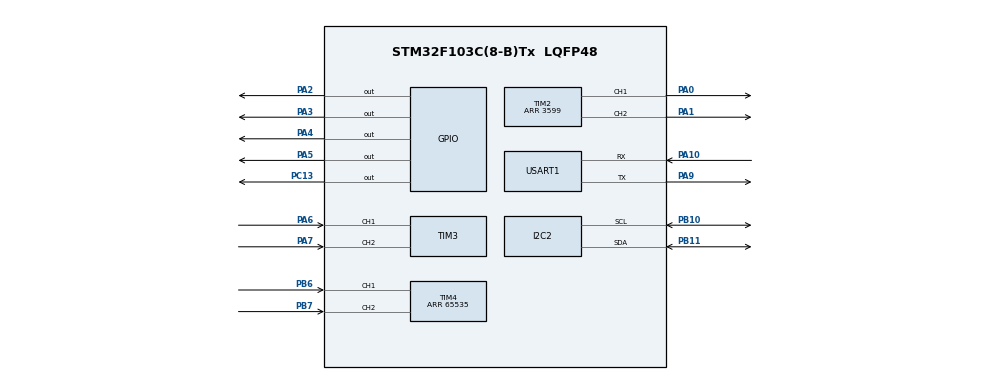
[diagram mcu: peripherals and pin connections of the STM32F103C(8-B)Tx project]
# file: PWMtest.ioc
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FREERTOS.Tasks01=Task_Comm,24,256,Comm_Task_Entry,Default,NULL,Dynamic,NULL,NULL;Task_Chassis,40,256,Chassis_Task_Entry,Default,NULL,Dynamic,NULL,NULL;Task_System,8,256,System_Task_Entry,Default,NULL,Dynamic,NULL,NULL
FREERTOS.configTOTAL_HEAP_SIZE=10240
Mcu.Family=STM32F1
Mcu.Name=STM32F103C(8-B)Tx
Mcu.Package=LQFP48
NVIC.PriorityGroup=NVIC_PRIORITYGROUP_4
NVIC.TIM1_UP_IRQn=true\:15\:0\:false\:false\:true\:false\:false\:true\:true
NVIC.TimeBase=TIM1_UP_IRQn
NVIC.TimeBaseIP=TIM1
NVIC.USART1_IRQn=true\:5\:0\:false\:false\:true\:true\:true\:true\:true
PA0-WKUP.Signal=S_TIM2_CH1_ETR
PA1.Signal=S_TIM2_CH2
PA10.Mode=Asynchronous
PA10.Signal=USART1_RX
PA13.Mode=Serial_Wire
PA13.Signal=SYS_JTMS-SWDIO
PA14.Mode=Serial_Wire
PA14.Signal=SYS_JTCK-SWCLK
PA2.Signal=GPIO_Output
PA3.Signal=GPIO_Output
PA4.Signal=GPIO_Output
PA5.Signal=GPIO_Output
PA6.Signal=S_TIM3_CH1
PA7.Signal=S_TIM3_CH2
PA9.Mode=Asynchronous
PA9.Signal=USART1_TX
PB10.Mode=I2C
PB10.Signal=I2C2_SCL
PB11.Mode=I2C
PB11.Signal=I2C2_SDA
PB6.Signal=S_TIM4_CH1
PB7.Signal=S_TIM4_CH2
PC13-TAMPER-RTC.Signal=GPIO_Output
ProjectManager.HeapSize=0x200
ProjectManager.StackSize=0x400
ProjectManager.TargetToolchain=MDK-ARM V5.32
RCC.APB1Freq_Value=8000000
RCC.APB2Freq_Value=8000000
SH.S_TIM2_CH1_ETR.0=TIM2_CH1,PWM Generation1 CH1
SH.S_TIM2_CH2.0=TIM2_CH2,PWM Generation2 CH2
SH.S_TIM3_CH1.0=TIM3_CH1,Encoder_Interface
SH.S_TIM3_CH2.0=TIM3_CH2,Encoder_Interface
SH.S_TIM4_CH1.0=TIM4_CH1,Encoder_Interface
SH.S_TIM4_CH2.0=TIM4_CH2,Encoder_Interface
TIM2.Channel-PWM\ Generation1\ CH1=TIM_CHANNEL_1
TIM2.Channel-PWM\ Generation2\ CH2=TIM_CHANNEL_2
TIM2.Period=3599
TIM4.Period=65535
USART1.VirtualMode=VM_ASYNC
VP_FREERTOS_VS_CMSIS_V2.Mode=CMSIS_V2
VP_SYS_VS_tim1.Mode=TIM1
board=custom

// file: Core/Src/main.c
/* USER CODE BEGIN Header */
/**
  ******************************************************************************
  * @file           : main.c
  * @brief          : Main program body
  ******************************************************************************
  * @attention
  *
  * Copyright (c) 2026 STMicroelectronics.
  * All rights reserved.
  *
  * This software is licensed under terms that can be found in the LICENSE file
  * in the root directory of this software component.
  * If no LICENSE file comes with this software, it is provided AS-IS.
  *
  ******************************************************************************
  */
/* USER CODE END Header */
#include "main.h"
#include "cmsis_os.h"

/* USER CODE BEGIN Includes */
#include <string.h>  // 必须加这个！解决 strstr 警告
#include <stdio.h>
#include <stdlib.h>
#include <protocol.h>
#include <chassis.h>
#include "pid.h"
#include "encoder.h"
#include "motor.h"
#include <math.h>
#include "mpu6050.h"
#include "kinematics.h"
#include "odometry.h"
/* USER CODE END Includes */

/* USER CODE BEGIN PM */
uint8_t rx_data;
/* USER CODE END PM */

I2C_HandleTypeDef hi2c2;

TIM_HandleTypeDef htim2;
TIM_HandleTypeDef htim3;
TIM_HandleTypeDef htim4;

UART_HandleTypeDef huart1;

/* Definitions for Task_Comm */
osThreadId_t Task_CommHandle;
const osThreadAttr_t Task_Comm_attributes = {
  .name = "Task_Comm",
  .stack_size = 256 * 4,
  .priority = (osPriority_t) osPriorityNormal,
};
/* Definitions for Task_Chassis */
osThreadId_t Task_ChassisHandle;
const osThreadAttr_t Task_Chassis_attributes = {
  .name = "Task_Chassis",
  .stack_size = 256 * 4,
  .priority = (osPriority_t) osPriorityHigh,
};
/* Definitions for Task_System */
osThreadId_t Task_SystemHandle;
const osThreadAttr_t Task_System_attributes = {
  .name = "Task_System",
  .stack_size = 256 * 4,
  .priority = (osPriority_t) osPriorityLow,
};
/* USER CODE BEGIN PV */
volatile float User_Target_Linear_X = 0.0f;  // 目标线速度
volatile float User_Target_Angular_Z = 0.0f; // 目标角速度

PID_TypeDef PID_MotorL;
PID_TypeDef PID_MotorR;
/* USER CODE END PV */

void SystemClock_Config(void);
static void MX_GPIO_Init(void);
static void MX_TIM2_Init(void);
static void MX_USART1_UART_Init(void);
static void MX_TIM3_Init(void);
static void MX_TIM4_Init(void);
static void MX_I2C2_Init(void);
void Comm_Task_Entry(void *argument);
void Chassis_Task_Entry(void *argument);
void System_Task_Entry(void *argument);

/* USER CODE BEGIN 0 */
#define LED_PORT GPIOC
#define LED_PIN  GPIO_PIN_13

void On_Receive_Velocity(float x, float z)
{
    HAL_GPIO_TogglePin(LED_PORT, LED_PIN);

    Protocol_Send_Odom(x, z);
	//Chassis_Set_Velocity(x, z);
	User_Target_Linear_X = x;
    User_Target_Angular_Z = z;

}
/* USER CODE END 0 */

int main(void)
{

  /* MCU Configuration--------------------------------------------------------*/

  /* Reset of all peripherals, Initializes the Flash interface and the Systick. */
  HAL_Init();

  /* Configure the system clock */
  SystemClock_Config();

  /* Initialize all configured peripherals */
  MX_GPIO_Init();
  MX_TIM2_Init();
  MX_USART1_UART_Init();
  MX_TIM3_Init();
  MX_TIM4_Init();
  MX_I2C2_Init();
  /* USER CODE BEGIN 2 */

  // 启动 TIM2 的 Channel 1
  HAL_TIM_PWM_Start(&htim2, TIM_CHANNEL_1);
  // 开启中断接收，每收到 1 个字节，就进一次中断回调函数
  HAL_UART_Receive_IT(&huart1, &rx_data, 1);
  HAL_TIM_Base_Start_IT(&htim2);
  HAL_TIM_PWM_Start(&htim2, TIM_CHANNEL_1);
  HAL_TIM_PWM_Start(&htim2, TIM_CHANNEL_2);
  // 开启编码器计数
  Encoder_Init(); // 内部开启了 TIM3, TIM4
  // 开启 PWM (TIM2/TIM1)
  Motor_Init(); // 内部调用了 HAL_TIM_PWM_Start(&htim1...)
  // 开启串口接收
  HAL_UART_Receive_IT(&huart1, &rx_data, 1);
  MPU_Init();
  MPU_Calibrate();
  /* USER CODE END 2 */

  /* Init scheduler */
  osKernelInitialize();

  /* Create the thread(s) */
  /* creation of Task_Comm */
  Task_CommHandle = osThreadNew(Comm_Task_Entry, NULL, &Task_Comm_attributes);

  /* creation of Task_Chassis */
  Task_ChassisHandle = osThreadNew(Chassis_Task_Entry, NULL, &Task_Chassis_attributes);

  /* creation of Task_System */
  Task_SystemHandle = osThreadNew(System_Task_Entry, NULL, &Task_System_attributes);

  /* Start scheduler */
  osKernelStart();

  /* We should never get here as control is now taken by the scheduler */

  /* Infinite loop */
  while (1)
  {

  }
}

void SystemClock_Config(void)
{
  RCC_OscInitTypeDef RCC_OscInitStruct = {0};
  RCC_ClkInitTypeDef RCC_ClkInitStruct = {0};

  /** Initializes the RCC Oscillators according to the specified parameters
  * in the RCC_OscInitTypeDef structure.
  */
  RCC_OscInitStruct.OscillatorType = RCC_OSCILLATORTYPE_HSI;
  RCC_OscInitStruct.HSIState = RCC_HSI_ON;
  RCC_OscInitStruct.HSICalibrationValue = RCC_HSICALIBRATION_DEFAULT;
  RCC_OscInitStruct.PLL.PLLState = RCC_PLL_NONE;
  if (HAL_RCC_OscConfig(&RCC_OscInitStruct) != HAL_OK)
  {
    Error_Handler();
  }

  /** Initializes the CPU, AHB and APB buses clocks
  */
  RCC_ClkInitStruct.ClockType = RCC_CLOCKTYPE_HCLK|RCC_CLOCKTYPE_SYSCLK
                              |RCC_CLOCKTYPE_PCLK1|RCC_CLOCKTYPE_PCLK2;
  RCC_ClkInitStruct.SYSCLKSource = RCC_SYSCLKSOURCE_HSI;
  RCC_ClkInitStruct.AHBCLKDivider = RCC_SYSCLK_DIV1;
  RCC_ClkInitStruct.APB1CLKDivider = RCC_HCLK_DIV1;
  RCC_ClkInitStruct.APB2CLKDivider = RCC_HCLK_DIV1;

  if (HAL_RCC_ClockConfig(&RCC_ClkInitStruct, FLASH_LATENCY_0) != HAL_OK)
  {
    Error_Handler();
  }
}

static void MX_I2C2_Init(void)
{

  hi2c2.Instance = I2C2;
  hi2c2.Init.ClockSpeed = 100000;
  hi2c2.Init.DutyCycle = I2C_DUTYCYCLE_2;
  hi2c2.Init.OwnAddress1 = 0;
  hi2c2.Init.AddressingMode = I2C_ADDRESSINGMODE_7BIT;
  hi2c2.Init.DualAddressMode = I2C_DUALADDRESS_DISABLE;
  hi2c2.Init.OwnAddress2 = 0;
  hi2c2.Init.GeneralCallMode = I2C_GENERALCALL_DISABLE;
  hi2c2.Init.NoStretchMode = I2C_NOSTRETCH_DISABLE;
  if (HAL_I2C_Init(&hi2c2) != HAL_OK)
  {
    Error_Handler();
  }

}

static void MX_TIM2_Init(void)
{

  TIM_MasterConfigTypeDef sMasterConfig = {0};
  TIM_OC_InitTypeDef sConfigOC = {0};

  htim2.Instance = TIM2;
  htim2.Init.Prescaler = 0;
  htim2.Init.CounterMode = TIM_COUNTERMODE_UP;
  htim2.Init.Period = 3599;
  htim2.Init.ClockDivision = TIM_CLOCKDIVISION_DIV1;
  htim2.Init.AutoReloadPreload = TIM_AUTORELOAD_PRELOAD_DISABLE;
  if (HAL_TIM_PWM_Init(&htim2) != HAL_OK)
  {
    Error_Handler();
  }
  sMasterConfig.MasterOutputTrigger = TIM_TRGO_RESET;
  sMasterConfig.MasterSlaveMode = TIM_MASTERSLAVEMODE_DISABLE;
  if (HAL_TIMEx_MasterConfigSynchronization(&htim2, &sMasterConfig) != HAL_OK)
  {
    Error_Handler();
  }
  sConfigOC.OCMode = TIM_OCMODE_PWM1;
  sConfigOC.Pulse = 0;
  sConfigOC.OCPolarity = TIM_OCPOLARITY_HIGH;
  sConfigOC.OCFastMode = TIM_OCFAST_DISABLE;
  if (HAL_TIM_PWM_ConfigChannel(&htim2, &sConfigOC, TIM_CHANNEL_1) != HAL_OK)
  {
    Error_Handler();
  }
  if (HAL_TIM_PWM_ConfigChannel(&htim2, &sConfigOC, TIM_CHANNEL_2) != HAL_OK)
  {
    Error_Handler();
  }
  HAL_TIM_MspPostInit(&htim2);

}

static void MX_TIM3_Init(void)
{

  TIM_Encoder_InitTypeDef sConfig = {0};
  TIM_MasterConfigTypeDef sMasterConfig = {0};

  htim3.Instance = TIM3;
  htim3.Init.Prescaler = 0;
  htim3.Init.CounterMode = TIM_COUNTERMODE_UP;
  htim3.Init.Period = 65535;
  htim3.Init.ClockDivision = TIM_CLOCKDIVISION_DIV1;
  htim3.Init.AutoReloadPreload = TIM_AUTORELOAD_PRELOAD_DISABLE;
  sConfig.EncoderMode = TIM_ENCODERMODE_TI1;
  sConfig.IC1Polarity = TIM_ICPOLARITY_RISING;
  sConfig.IC1Selection = TIM_ICSELECTION_DIRECTTI;
  sConfig.IC1Prescaler = TIM_ICPSC_DIV1;
  sConfig.IC1Filter = 0;
  sConfig.IC2Polarity = TIM_ICPOLARITY_RISING;
  sConfig.IC2Selection = TIM_ICSELECTION_DIRECTTI;
  sConfig.IC2Prescaler = TIM_ICPSC_DIV1;
  sConfig.IC2Filter = 0;
  if (HAL_TIM_Encoder_Init(&htim3, &sConfig) != HAL_OK)
  {
    Error_Handler();
  }
  sMasterConfig.MasterOutputTrigger = TIM_TRGO_RESET;
  sMasterConfig.MasterSlaveMode = TIM_MASTERSLAVEMODE_DISABLE;
  if (HAL_TIMEx_MasterConfigSynchronization(&htim3, &sMasterConfig) != HAL_OK)
  {
    Error_Handler();
  }

}

static void MX_TIM4_Init(void)
{

  TIM_Encoder_InitTypeDef sConfig = {0};
  TIM_MasterConfigTypeDef sMasterConfig = {0};

  htim4.Instance = TIM4;
  htim4.Init.Prescaler = 0;
  htim4.Init.CounterMode = TIM_COUNTERMODE_UP;
  htim4.Init.Period = 65535;
  htim4.Init.ClockDivision = TIM_CLOCKDIVISION_DIV1;
  htim4.Init.AutoReloadPreload = TIM_AUTORELOAD_PRELOAD_DISABLE;
  sConfig.EncoderMode = TIM_ENCODERMODE_TI1;
  sConfig.IC1Polarity = TIM_ICPOLARITY_RISING;
  sConfig.IC1Selection = TIM_ICSELECTION_DIRECTTI;
  sConfig.IC1Prescaler = TIM_ICPSC_DIV1;
  sConfig.IC1Filter = 0;
  sConfig.IC2Polarity = TIM_ICPOLARITY_RISING;
  sConfig.IC2Selection = TIM_ICSELECTION_DIRECTTI;
  sConfig.IC2Prescaler = TIM_ICPSC_DIV1;
  sConfig.IC2Filter = 0;
  if (HAL_TIM_Encoder_Init(&htim4, &sConfig) != HAL_OK)
  {
    Error_Handler();
  }
  sMasterConfig.MasterOutputTrigger = TIM_TRGO_RESET;
  sMasterConfig.MasterSlaveMode = TIM_MASTERSLAVEMODE_DISABLE;
  if (HAL_TIMEx_MasterConfigSynchronization(&htim4, &sMasterConfig) != HAL_OK)
  {
    Error_Handler();
  }

}

static void MX_USART1_UART_Init(void)
{

  huart1.Instance = USART1;
  huart1.Init.BaudRate = 115200;
  huart1.Init.WordLength = UART_WORDLENGTH_8B;
  huart1.Init.StopBits = UART_STOPBITS_1;
  huart1.Init.Parity = UART_PARITY_NONE;
  huart1.Init.Mode = UART_MODE_TX_RX;
  huart1.Init.HwFlowCtl = UART_HWCONTROL_NONE;
  huart1.Init.OverSampling = UART_OVERSAMPLING_16;
  if (HAL_UART_Init(&huart1) != HAL_OK)
  {
    Error_Handler();
  }

}

static void MX_GPIO_Init(void)
{
  GPIO_InitTypeDef GPIO_InitStruct = {0};

  /* GPIO Ports Clock Enable */
  __HAL_RCC_GPIOC_CLK_ENABLE();
  __HAL_RCC_GPIOA_CLK_ENABLE();
  __HAL_RCC_GPIOB_CLK_ENABLE();

  /*Configure GPIO pin Output Level */
  HAL_GPIO_WritePin(GPIOC, GPIO_PIN_13, GPIO_PIN_RESET);

  /*Configure GPIO pin Output Level */
  HAL_GPIO_WritePin(GPIOA, GPIO_PIN_2|GPIO_PIN_3|GPIO_PIN_4|GPIO_PIN_5, GPIO_PIN_RESET);

  /*Configure GPIO pin : PC13 */
  GPIO_InitStruct.Pin = GPIO_PIN_13;
  GPIO_InitStruct.Mode = GPIO_MODE_OUTPUT_PP;
  GPIO_InitStruct.Pull = GPIO_NOPULL;
  GPIO_InitStruct.Speed = GPIO_SPEED_FREQ_LOW;
  HAL_GPIO_Init(GPIOC, &GPIO_InitStruct);

  /*Configure GPIO pins : PA2 PA3 PA4 PA5 */
  GPIO_InitStruct.Pin = GPIO_PIN_2|GPIO_PIN_3|GPIO_PIN_4|GPIO_PIN_5;
  GPIO_InitStruct.Mode = GPIO_MODE_OUTPUT_PP;
  GPIO_InitStruct.Pull = GPIO_NOPULL;
  GPIO_InitStruct.Speed = GPIO_SPEED_FREQ_LOW;
  HAL_GPIO_Init(GPIOA, &GPIO_InitStruct);

}

/* USER CODE BEGIN 4 */
// 串口接收中断回调函数
// 串口接收中断回调函数
void HAL_UART_RxCpltCallback(UART_HandleTypeDef *huart)
{
    // 判断是不是 USART1 产生的中断
    if (huart->Instance == USART1)
    {
        // 【核心修改】
        // 不需要等 \n，不需要存数组，直接把这个字节喂给解码器！
        Protocol_Decode(rx_data);

        // 重新开启中断，准备接收下一个字节
        HAL_UART_Receive_IT(&huart1, &rx_data, 1);
    }
}
/* USER CODE END 4 */

void Comm_Task_Entry(void *argument)
{
  for(;;)
  {
        osDelay(1);
  }
}

void Chassis_Task_Entry(void *argument)
{
  /* USER CODE BEGIN Chassis_Task_Entry */
	Odometry_Init();
  Chassis_Init();
  Encoder_Init();

  // 保持你刚才测试成功的强力参数！千万别改回去了！
  PID_Init(&PID_MotorL, 80.0f, 0.5f, 0.0f, 7199.0f, 4000.0f);
  PID_Init(&PID_MotorR, 80.0f, 0.5f, 0.0f, 7199.0f, 4000.0f);

  Kinematics_Motor_Speed_t target_speed_mps;
  Kinematics_Motor_Pulse_t target_pulse;
  int min_startup_pwm = 1500; // 保持这个低保值

  for(;;)
  {
    // 1. 获取真实指令
    float test_linear_x = User_Target_Linear_X;
    float test_angular_z = User_Target_Angular_Z;

    // 2. 解算
    target_speed_mps = Kinematics_Inverse(test_linear_x, test_angular_z);
    target_pulse = Kinematics_SpeedToPulse(target_speed_mps, 0.05f);

    // 3. 反馈与PID
    float current_pulse_L = (float)Read_Encoder_Motor1();
    float current_pulse_R = (float)Read_Encoder_Motor2();
    float pwm_L = PID_Compute(&PID_MotorL, target_pulse.left_ticks, current_pulse_L);
    float pwm_R = PID_Compute(&PID_MotorR, target_pulse.right_ticks, current_pulse_R);

    // 4. 安全停车 (如果目标是0，强制关断)
    if (fabs(test_linear_x) < 0.01f && fabs(test_angular_z) < 0.01f) {
        pwm_L = 0;
        pwm_R = 0;
        PID_MotorL.Sum_Error = 0; // 清积分
        PID_MotorR.Sum_Error = 0;
    }
    else {
        // 5. 起步低保 (只有在目标不为0时才给)
        // 左轮
        if (pwm_L > 0 && pwm_L < min_startup_pwm) pwm_L = min_startup_pwm;
        else if (pwm_L < 0 && pwm_L > -min_startup_pwm) pwm_L = -min_startup_pwm;
        // 右轮
        if (pwm_R > 0 && pwm_R < min_startup_pwm) pwm_R = min_startup_pwm;
        else if (pwm_R < 0 && pwm_R > -min_startup_pwm) pwm_R = -min_startup_pwm;
    }

    // 6. 输出
    Motor1_SetSpeed((int)pwm_L);
    Motor2_SetSpeed((int)pwm_R);

    osDelay(50);
  }
  /* USER CODE END Chassis_Task_Entry */
}

void System_Task_Entry(void *argument)
{
  for(;;)
  {
    osDelay(1);
  }
}

void HAL_TIM_PeriodElapsedCallback(TIM_HandleTypeDef *htim)
{
  if (htim->Instance == TIM1)
  {
    HAL_IncTick();
  }
}

void Error_Handler(void)
{
  __disable_irq();
  while (1)
  {
  }
}
